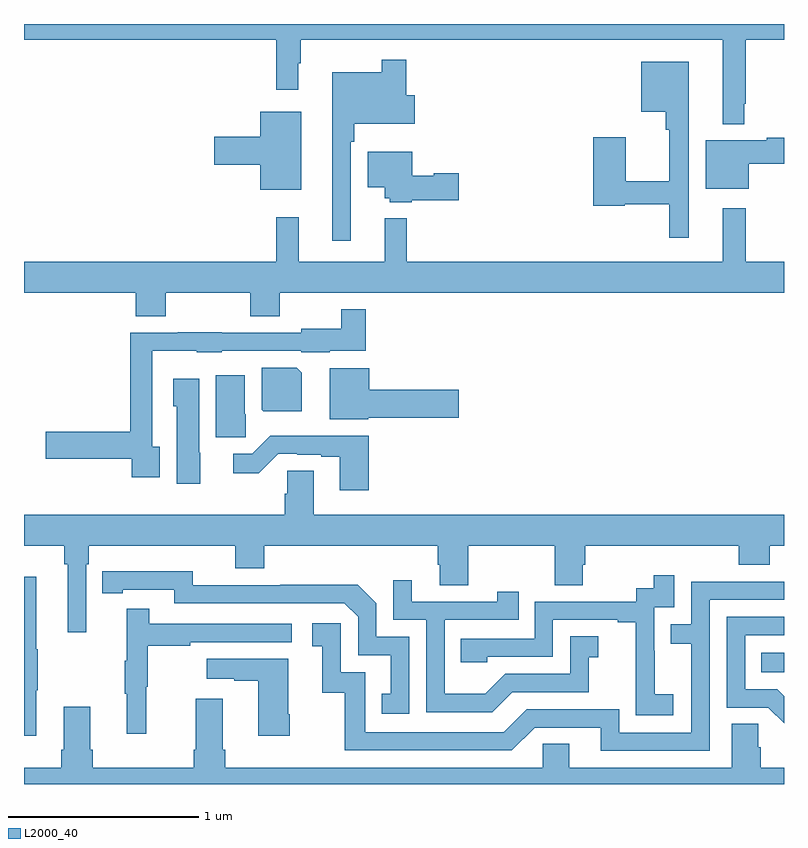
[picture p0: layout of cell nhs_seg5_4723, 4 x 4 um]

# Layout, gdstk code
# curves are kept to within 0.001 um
import gdstk
lib = gdstk.Library(unit=1e-6, precision=1e-09)
def R(c, l, rs):  # rectangles x0, y0, x1, y1
    for r in rs: c.add(gdstk.rectangle(r[:2], r[2:], *l))
def P(c, l, *ps):  # polygons
    for p in ps: c.add(gdstk.Polygon(p, *l))
L2000_40 = (2000, 40)

nhs_seg5_4723 = lib.new_cell('nhs_seg5_4723')
R(nhs_seg5_4723, L2000_40, [(390.88,897.386,391,897.49)])
P(nhs_seg5_4723, L2000_40, [(390.792,900.379),(390.799,900.379),(390.799,900.716),(391,900.716),(391,900.799),(387,900.799),(387,900.716),(388.327,900.716),(388.327,900.453),(388.444,900.453),(388.444,900.593),(388.456,900.593),(388.456,900.716),(390.677,900.716),(390.677,900.272),(390.792,900.272)],
  [(388.719,900.179),(388.739,900.179),(388.739,900.275),(389.056,900.275),(389.056,900.423),(389.012,900.423),(389.012,900.61),(388.884,900.61),(388.884,900.544),(388.622,900.544),(388.622,899.658),(388.719,899.658)],
  [(390.499,900.601),(390.248,900.601),(390.248,900.338),(390.378,900.338),(390.378,900.242),(390.395,900.242),(390.395,899.971),(390.166,899.971),(390.166,900.202),(389.996,900.202),(389.996,899.842),(390.162,899.842),(390.162,899.85),(390.395,899.85),(390.395,899.673),(390.499,899.673)],
  [(388.459,900.337),(388.244,900.337),(388.244,900.206),(388.002,900.206),(388.002,900.059),(388.244,900.059),(388.244,899.927),(388.459,899.927)],
  [(390.814,900.064),(391,900.064),(391,900.2),(390.91,900.2),(390.91,900.187),(390.587,900.187),(390.587,899.933),(390.814,899.933)],
  [(389.04,899.872),(389.287,899.872),(389.287,900.014),(389.157,900.014),(389.157,900.001),(389.044,900.001),(389.044,900.127),(388.808,900.127),(388.808,899.939),(388.898,899.939),(388.898,899.883),(388.926,899.883),(388.926,899.861),(389.04,899.861)],
  [(387.747,899.384),(388.192,899.384),(388.192,899.26),(388.347,899.26),(388.347,899.384),(391,899.384),(391,899.548),(390.799,899.548),(390.799,899.83),(390.677,899.83),(390.677,899.548),(389.015,899.548),(389.015,899.776),(388.898,899.776),(388.898,899.548),(388.445,899.548),(388.445,899.782),(388.327,899.782),(388.327,899.548),(387,899.548),(387,899.384),(387.587,899.384),(387.587,899.26),(387.747,899.26)],
  [(387.715,898.574),(387.675,898.574),(387.675,899.078),(387.909,899.078),(387.909,899.072),(388.041,899.072),(388.041,899.079),(388.458,899.079),(388.458,899.072),(388.608,899.072),(388.608,899.078),(388.799,899.078),(388.799,899.299),(388.671,899.299),(388.671,899.194),(388.458,899.194),(388.458,899.175),(388.041,899.175),(388.041,899.177),(387.809,899.177),(387.809,899.175),(387.559,899.175),(387.559,898.652),(387.114,898.652),(387.114,898.51),(387.567,898.51),(387.567,898.413),(387.715,898.413)],
  [(388.462,898.964),(388.436,898.99),(388.25,898.99),(388.25,898.768),(388.258,898.76),(388.462,898.76)],
  [(388.812,898.727),(389.287,898.727),(389.287,898.874),(388.816,898.874),(388.816,898.988),(388.61,898.988),(388.61,898.718),(388.812,898.718)],
  [(388.166,898.746),(388.162,898.746),(388.162,898.951),(388.01,898.951),(388.01,898.623),(388.166,898.623)],
  [(387.928,898.542),(387.922,898.542),(387.922,898.933),(387.785,898.933),(387.785,898.788),(387.803,898.788),(387.803,898.38),(387.928,898.38)],
  [(388.814,898.631),(388.295,898.631),(388.2,898.536),(388.101,898.536),(388.101,898.434),(388.236,898.434),(388.338,898.536),(388.438,898.536),(388.438,898.533),(388.565,898.533),(388.565,898.521),(388.661,898.521),(388.661,898.344),(388.814,898.344)],
  [(387.327,897.956),(387.341,897.956),(387.341,898.052),(388.112,898.052),(388.112,897.935),(388.265,897.935),(388.265,898.052),(389.177,898.052),(389.177,897.954),(389.189,897.954),(389.189,897.844),(389.337,897.844),(389.337,898.052),(389.794,898.052),(389.794,897.844),(389.941,897.844),(389.941,897.954),(389.954,897.954),(389.954,898.052),(390.761,898.052),(390.761,897.953),(390.926,897.953),(390.926,898.052),(391,898.052),(391,898.216),(388.525,898.216),(388.525,898.448),(388.386,898.448),(388.386,898.326),(388.373,898.326),(388.373,898.216),(387,898.216),(387,898.052),(387.211,898.052),(387.211,897.956),(387.23,897.956),(387.23,897.597),(387.327,897.597)],
  [(389.028,897.573),(388.854,897.573),(388.854,897.75),(388.756,897.848),(388.348,897.848),(388.348,897.846),(387.888,897.846),(387.888,897.919),(387.412,897.918),(387.412,897.802),(387.52,897.802),(387.52,897.822),(387.792,897.822),(387.792,897.75),(388.686,897.75),(388.758,897.678),(388.758,897.477),(388.931,897.477),(388.931,897.273),(388.882,897.273),(388.882,897.168),(389.028,897.168)],
  [(390.418,897.271),(390.32,897.271),(390.32,897.5),(390.318,897.5),(390.318,897.729),(390.423,897.729),(390.423,897.898),(390.315,897.898),(390.315,897.828),(390.222,897.828),(390.222,897.759),(389.688,897.759),(389.688,897.564),(389.299,897.564),(389.299,897.441),(389.439,897.441),(389.439,897.468),(389.784,897.468),(389.784,897.663),(390.125,897.663),(390.125,897.651),(390.221,897.651),(390.221,897.367),(390.22,897.367),(390.22,897.161),(390.418,897.161)],
  [(387.064,897.292),(387.072,897.292),(387.072,897.509),(387.064,897.509),(387.064,897.889),(387,897.889),(387,897.054),(387.064,897.054)],
  [(389.569,897.282),(389.973,897.282),(389.973,897.467),(390.022,897.467),(390.022,897.577),(389.874,897.577),(389.874,897.378),(389.532,897.378),(389.428,897.274),(389.214,897.274),(389.214,897.663),(389.603,897.663),(389.603,897.811),(389.492,897.811),(389.492,897.759),(389.041,897.759),(389.041,897.871),(388.944,897.871),(388.944,897.663),(389.118,897.663),(389.118,897.177),(389.464,897.177)],
  [(390.609,897.768),(391,897.768),(391,897.864),(390.513,897.864),(390.513,897.639),(390.403,897.639),(390.403,897.538),(390.513,897.538),(390.513,897.069),(390.132,897.069),(390.132,897.192),(389.646,897.192),(389.526,897.072),(388.797,897.072),(388.797,897.387),(388.668,897.387),(388.668,897.646),(388.518,897.646),(388.518,897.525),(388.571,897.525),(388.571,897.279),(388.689,897.279),(388.689,896.976),(389.568,896.976),(389.688,897.096),(390.035,897.096),(390.035,896.973),(390.609,896.973)],
  [(387.644,897.312),(387.652,897.312),(387.652,897.526),(387.875,897.526),(387.875,897.546),(388.408,897.546),(388.408,897.642),(387.659,897.642),(387.659,897.721),(387.542,897.721),(387.542,897.449),(387.531,897.449),(387.531,897.275),(387.542,897.275),(387.542,897.063),(387.644,897.063)],
  [(391,897.261),(390.964,897.297),(390.795,897.297),(390.795,897.582),(391,897.582),(391,897.678),(390.699,897.678),(390.699,897.201),(390.918,897.201),(391,897.12)],
  [(388.398,897.166),(388.39,897.166),(388.39,897.457),(387.963,897.457),(387.963,897.353),(388.106,897.353),(388.106,897.343),(388.232,897.343),(388.232,897.054),(388.398,897.054)],
  [(391,896.884),(390.878,896.884),(390.878,896.993),(390.864,896.993),(390.864,897.116),(390.725,897.116),(390.725,896.884),(389.869,896.884),(389.869,897.011),(389.73,897.011),(389.73,896.884),(388.058,896.884),(388.058,896.98),(388.045,896.98),(388.045,897.247),(387.905,897.247),(387.905,896.98),(387.893,896.98),(387.893,896.884),(387.362,896.884),(387.362,896.98),(387.349,896.98),(387.349,897.205),(387.209,897.205),(387.209,896.98),(387.197,896.98),(387.197,896.884),(387,896.884),(387,896.799),(391,896.799)])

lib.write_gds('nhs_seg5_4723.gds')
